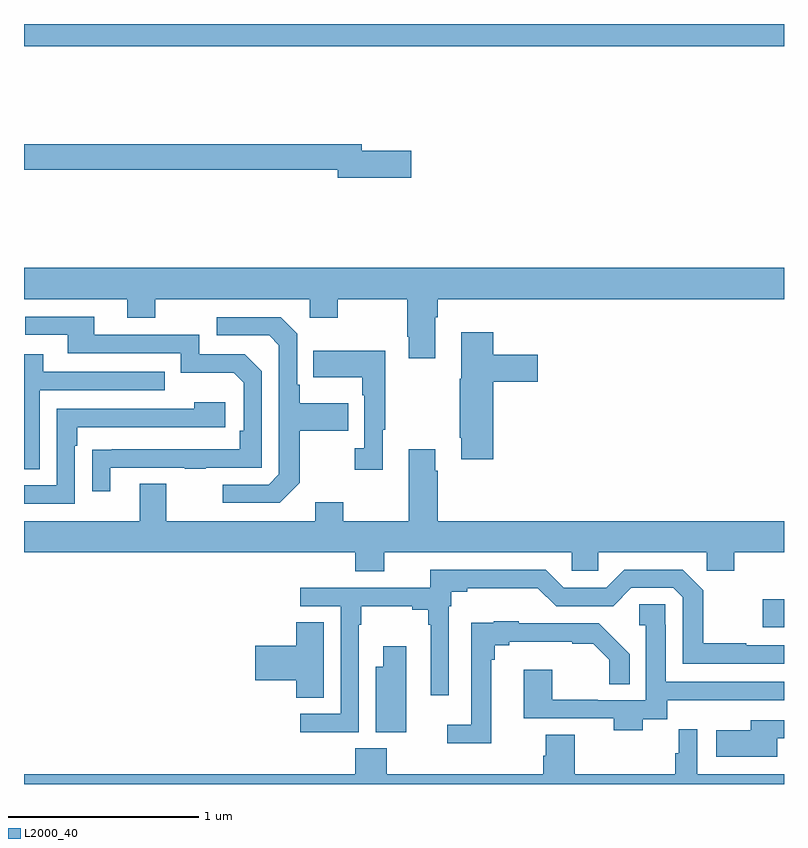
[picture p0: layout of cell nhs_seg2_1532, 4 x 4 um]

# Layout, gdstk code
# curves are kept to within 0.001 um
import gdstk
lib = gdstk.Library(unit=1e-6, precision=1e-09)
def R(c, l, rs):  # rectangles x0, y0, x1, y1
    for r in rs: c.add(gdstk.rectangle(r[:2], r[2:], *l))
def P(c, l, *ps):  # polygons
    for p in ps: c.add(gdstk.Polygon(p, *l))
L2000_40 = (2000, 40)

nhs_seg2_1532 = lib.new_cell('nhs_seg2_1532')
R(nhs_seg2_1532, L2000_40, [(194.889,596.625,195,596.773), (191,599.684,195,599.8)])
P(nhs_seg2_1532, L2000_40, [(193.039,599.132),(192.778,599.132),(192.778,599.168),(191,599.168),(191,599.032),(192.65,599.032),(192.65,598.99),(193.039,598.99)],
  [(193.165,598.256),(193.178,598.256),(193.178,598.352),(195,598.352),(195,598.516),(191,598.516),(191,598.352),(191.543,598.352),(191.543,598.253),(191.691,598.253),(191.691,598.352),(192.504,598.352),(192.504,598.253),(192.651,598.253),(192.651,598.352),(193.018,598.352),(193.018,598.153),(193.025,598.153),(193.025,598.041),(193.165,598.041)],
  [(191.455,597.465),(191.845,597.465),(191.845,597.46),(191.957,597.46),(191.957,597.465),(192.252,597.465),(192.252,597.972),(192.162,598.062),(191.922,598.062),(191.922,598.164),(191.371,598.164),(191.371,598.26),(191.007,598.26),(191.007,598.164),(191.231,598.164),(191.231,598.068),(191.826,598.068),(191.826,597.965),(192.103,597.965),(192.156,597.912),(192.156,597.658),(192.136,597.658),(192.136,597.561),(191.359,597.56),(191.359,597.342),(191.455,597.342)],
  [(192.451,597.385),(192.451,597.658),(192.707,597.658),(192.707,597.805),(192.451,597.805),(192.451,597.901),(192.438,597.901),(192.438,598.17),(192.351,598.257),(192.015,598.257),(192.015,598.161),(192.291,598.161),(192.342,598.11),(192.342,597.429),(192.288,597.375),(192.045,597.375),(192.045,597.279),(192.345,597.279)],
  [(193.469,597.917),(193.705,597.917),(193.705,598.059),(193.469,598.059),(193.469,598.177),(193.301,598.177),(193.301,597.933),(193.294,597.933),(193.294,597.622),(193.301,597.622),(193.301,597.51),(193.469,597.51)],
  [(192.889,597.665),(192.901,597.665),(192.901,598.081),(192.523,598.081),(192.523,597.941),(192.78,597.941),(192.78,597.845),(192.792,597.845),(192.792,597.566),(192.741,597.566),(192.741,597.453),(192.889,597.453)],
  [(191.082,597.873),(191.741,597.873),(191.741,597.969),(191.101,597.969),(191.101,598.063),(191,598.063),(191,597.457),(191.082,597.457)],
  [(191.268,597.581),(191.281,597.581),(191.281,597.678),(192.058,597.678),(192.058,597.808),(191.897,597.808),(191.897,597.774),(191.172,597.774),(191.172,597.372),(191,597.372),(191,597.276),(191.268,597.276)],
  [(192.895,597.02),(193.884,597.02),(193.884,596.922),(194.022,596.922),(194.022,597.02),(194.593,597.02),(194.593,596.922),(194.739,596.922),(194.739,597.02),(195,597.02),(195,597.184),(193.178,597.184),(193.178,597.449),(193.165,597.449),(193.165,597.562),(193.025,597.562),(193.025,597.184),(192.681,597.184),(192.681,597.283),(192.533,597.283),(192.533,597.184),(191.749,597.184),(191.749,597.379),(191.609,597.379),(191.609,597.184),(191,597.184),(191,597.02),(192.743,597.02),(192.743,596.921),(192.895,596.921)],
  [(192.762,596.639),(192.775,596.639),(192.775,596.735),(193.043,596.735),(193.043,596.716),(193.128,596.716),(193.128,596.639),(193.14,596.639),(193.14,596.268),(193.236,596.268),(193.236,596.735),(193.249,596.735),(193.249,596.812),(193.333,596.812),(193.333,596.831),(193.705,596.831),(193.8,596.736),(194.1,596.736),(194.196,596.832),(194.418,596.832),(194.466,596.784),(194.466,596.433),(195,596.433),(195,596.529),(194.801,596.529),(194.801,596.542),(194.575,596.542),(194.575,596.819),(194.466,596.928),(194.16,596.928),(194.064,596.832),(193.842,596.832),(193.746,596.928),(193.138,596.928),(193.138,596.832),(192.453,596.832),(192.453,596.736),(192.666,596.736),(192.666,596.169),(192.453,596.169),(192.453,596.073),(192.762,596.073)],
  [(194.257,596.141),(194.386,596.141),(194.386,596.24),(194.655,596.24),(194.655,596.241),(195,596.241),(195,596.337),(194.377,596.337),(194.377,596.639),(194.376,596.639),(194.376,596.747),(194.238,596.747),(194.238,596.636),(194.273,596.636),(194.273,596.241),(194.021,596.241),(194.021,596.243),(193.779,596.243),(193.779,596.401),(193.631,596.401),(193.631,596.145),(194.105,596.145),(194.105,596.084),(194.257,596.084)],
  [(193.459,596.453),(193.477,596.453),(193.477,596.53),(193.555,596.53),(193.555,596.549),(193.886,596.549),(193.886,596.538),(193.995,596.538),(194.079,596.455),(194.079,596.326),(194.188,596.326),(194.188,596.483),(194.104,596.566),(194.105,596.567),(194.026,596.646),(193.605,596.646),(193.605,596.656),(193.473,596.656),(193.473,596.648),(193.355,596.648),(193.355,596.113),(193.227,596.113),(193.227,596.015),(193.459,596.015)],
  [(192.577,596.651),(192.434,596.651),(192.434,596.528),(192.216,596.528),(192.216,596.345),(192.434,596.345),(192.434,596.254),(192.577,596.254)],
  [(193.012,596.524),(192.89,596.524),(192.89,596.416),(192.851,596.416),(192.851,596.073),(193.012,596.073)],
  [(194.965,596.04),(195,596.04),(195,596.136),(194.825,596.136),(194.825,596.083),(194.643,596.083),(194.643,595.943),(194.965,595.943)],
  [(195,595.852),(194.544,595.852),(194.544,596.089),(194.447,596.089),(194.447,595.962),(194.428,595.962),(194.428,595.852),(193.898,595.852),(193.898,596.06),(193.745,596.06),(193.745,595.95),(193.733,595.95),(193.733,595.852),(192.908,595.852),(192.908,595.987),(192.743,595.987),(192.743,595.852),(191,595.852),(191,595.8),(195,595.8)])

lib.write_gds('nhs_seg2_1532.gds')
